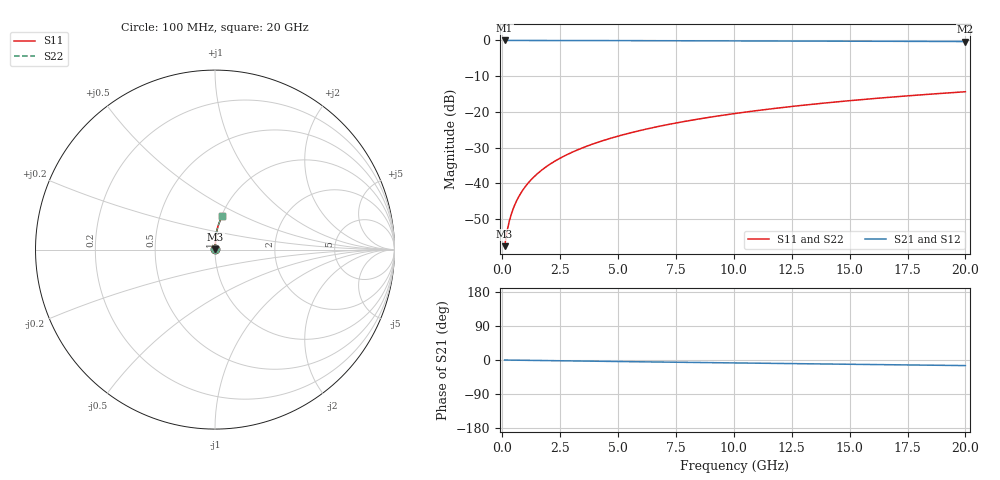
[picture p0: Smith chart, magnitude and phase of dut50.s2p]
! Touchstone file exported from HFSS 2024.1.0
!  File:  C:/UserFiles/LocalFiles/RDL_TSV_Batchsim/temp_RDL_bottom_50_1778692980.aedt
!  Generated:  01:25:23 AM May 14, 2026
!  Design:  RDL_bottom
!  Project:  temp_RDL_bottom_50_1778692980
!  Setup:  Setup1
!  Solution:  Sweep
! Variables:
!  dtsv = 10.80580581um
!  hbump = 3um
!  htsv = 58.93um
!  ldown = 143.59um
!  lrdl = 100um
!  p = 40
!  p1 = 59.4um
!  rhole = 1um
!  t = 450um
!  tdown = 3.68um
!  trdl = 3.915915916um
!  wdown = 18.65um
!  wrdl = 20um
# GHz S MA R 50.000000
! Terminal data exported
! Port[1] = RDL1_T1
! Port[2] = RDL1_T2
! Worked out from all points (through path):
!   200 points, 100 MHz to 20 GHz, reference 50 ohm
!   highest |S21| = -0.01 dB at 100 MHz (marker M1); lowest = -0.3 dB at 20 GHz (marker M2)
!   group delay of S21, straight-line fit = 2.03 ps
!   lowest |S11| = -57.6 dB at 100 MHz (marker M3), VSWR 1.00, Z = 50.1 + j0.0941 ohm
!   |S11| at or under -10 dB: start of sweep to end of sweep
!   |S22| runs from -57.6 to -14.4 dB; largest |S21 - S12| = 3.5e-15
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0.1  0.001325 45.1  0.9991 -0.1  0.9991 -0.1  0.001325 45.1
! Gamma 0 0 0 0
! Port Impedance 50 0 50 0
0.2  0.002098 62.7  0.999 -0.2  0.999 -0.2  0.002098 62.7
0.3  0.002946 70.3  0.999 -0.3  0.999 -0.3  0.002946 70.3
0.4  0.00381 74.5  0.9989 -0.3  0.9989 -0.3  0.00381 74.5
0.5  0.00468 77.1  0.9989 -0.4  0.9989 -0.4  0.00468 77.1
0.7  0.006431 80.4  0.9988 -0.6  0.9988 -0.6  0.006431 80.4
0.8  0.007311 81.5  0.9988 -0.7  0.9988 -0.7  0.007311 81.5
1  0.00908 83.1  0.9987 -0.8  0.9987 -0.8  0.00908 83.1
1.2  0.01086 84.2  0.9986 -1.0  0.9986 -1.0  0.01086 84.2
1.4  0.01264 85.0  0.9985 -1.2  0.9985 -1.2  0.01264 85.0
1.7  0.01533 85.8  0.9982 -1.4  0.9982 -1.4  0.01533 85.8
2  0.01804 86.4  0.998 -1.6  0.998 -1.6  0.01804 86.4
2.7  0.0244 87.2  0.9973 -2.2  0.9973 -2.2  0.0244 87.2
3.5  0.03177 87.6  0.9964 -2.8  0.9964 -2.8  0.03177 87.6
4.2  0.0383 87.8  0.9954 -3.4  0.9954 -3.4  0.03829 87.8
5  0.04585 87.7  0.9942 -4.0  0.9942 -4.0  0.04585 87.7
6.8  0.06316 87.2  0.9911 -5.4  0.9911 -5.4  0.06316 87.2
8.3  0.07781 86.4  0.9884 -6.5  0.9884 -6.5  0.07781 86.4
10.1  0.09553 85.3  0.9851 -7.8  0.9851 -7.8  0.09553 85.3
13.4  0.128 82.9  0.9788 -10.2  0.9788 -10.2  0.128 82.9
16.7  0.1601 80.4  0.9722 -12.5  0.9722 -12.5  0.1601 80.4
20  0.1915 77.9  0.9651 -14.7  0.9651 -14.7  0.1915 77.9
